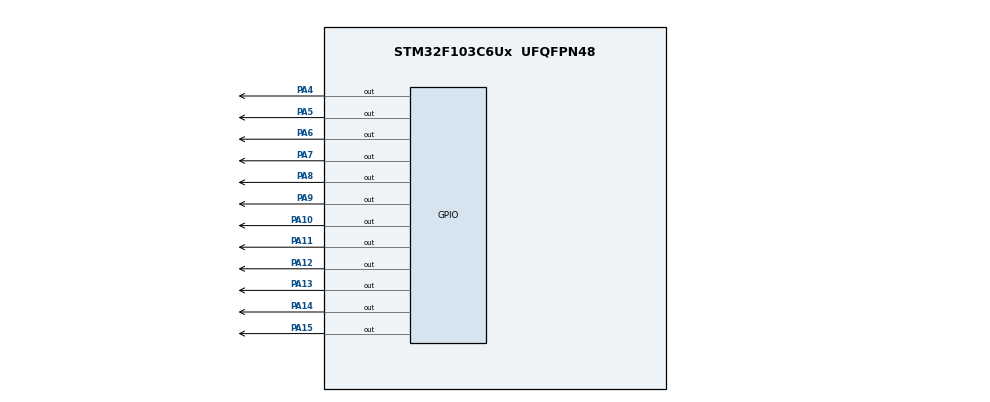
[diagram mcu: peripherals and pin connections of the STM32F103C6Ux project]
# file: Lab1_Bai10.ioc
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Mcu.Family=STM32F1
Mcu.Name=STM32F103C6Ux
Mcu.Package=UFQFPN48
NVIC.PriorityGroup=NVIC_PRIORITYGROUP_4
PA10.Signal=GPIO_Output
PA11.Signal=GPIO_Output
PA12.Signal=GPIO_Output
PA13.Signal=GPIO_Output
PA14.Signal=GPIO_Output
PA15.Signal=GPIO_Output
PA4.Signal=GPIO_Output
PA5.Signal=GPIO_Output
PA6.Signal=GPIO_Output
PA7.Signal=GPIO_Output
PA8.Signal=GPIO_Output
PA9.Signal=GPIO_Output
ProjectManager.HeapSize=0x200
ProjectManager.StackSize=0x400
ProjectManager.TargetToolchain=STM32CubeIDE
RCC.APB1Freq_Value=8000000
RCC.APB2Freq_Value=8000000
VP_SYS_VS_ND.Mode=No_Debug
board=custom

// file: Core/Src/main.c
/* USER CODE BEGIN Header */
/**
  ******************************************************************************
  * @file           : main.c
  * @brief          : Main program body
  ******************************************************************************
  * @attention
  *
  * <h2><center>&copy; Copyright (c) 2023 STMicroelectronics.
  * All rights reserved.</center></h2>
  *
  * This software component is licensed by ST under BSD 3-Clause license,
  * the "License"; You may not use this file except in compliance with the
  * License. You may obtain a copy of the License at:
  *                        opensource.org/licenses/BSD-3-Clause
  *
  ******************************************************************************
  */
/* USER CODE END Header */
#include "main.h"

void SystemClock_Config(void);
static void MX_GPIO_Init(void);

void clearAllClock(){
	HAL_GPIO_WritePin (GPIOA, GPIO_PIN_4, SET);
	HAL_GPIO_WritePin (GPIOA, GPIO_PIN_5, SET);
	HAL_GPIO_WritePin (GPIOA, GPIO_PIN_6, SET);
	HAL_GPIO_WritePin (GPIOA, GPIO_PIN_7, SET);
	HAL_GPIO_WritePin (GPIOA, GPIO_PIN_8, SET);
	HAL_GPIO_WritePin (GPIOA, GPIO_PIN_9, SET);
	HAL_GPIO_WritePin (GPIOA, GPIO_PIN_10, SET);
	HAL_GPIO_WritePin (GPIOA, GPIO_PIN_11, SET);
	HAL_GPIO_WritePin (GPIOA, GPIO_PIN_12, SET);
	HAL_GPIO_WritePin (GPIOA, GPIO_PIN_13, SET);
	HAL_GPIO_WritePin (GPIOA, GPIO_PIN_14, SET);
	HAL_GPIO_WritePin (GPIOA, GPIO_PIN_15, SET);
}
void clockDisplay(int hour, int minute, int second){
	if (minute < 5) minute = 0;
	else if (minute < 10) minute = 1;
	else if (minute < 15) minute = 2;
	else if (minute < 20) minute = 3;
	else if (minute < 25) minute = 4;
	else if (minute < 30) minute = 5;
	else if (minute < 35) minute = 6;
	else if (minute < 40) minute = 7;
	else if (minute < 45) minute = 8;
	else if (minute < 50) minute = 9;
	else if (minute < 55) minute = 10;
	else if (minute < 60) minute = 11;

	if (second < 5) second = 0;
	else if (second < 10) second = 1;
	else if (second < 15) second = 2;
	else if (second < 20) second = 3;
	else if (second < 25) second = 4;
	else if (second < 30) second = 5;
	else if (second < 35) second = 6;
	else if (second < 40) second = 7;
	else if (second < 45) second = 8;
	else if (second < 50) second = 9;
	else if (second < 55) second = 10;
	else if (second < 60) second = 11;
	switch(hour){
	case 0:
		HAL_GPIO_WritePin (GPIOA, GPIO_PIN_4, RESET);
		break;
	case 1:
		HAL_GPIO_WritePin (GPIOA, GPIO_PIN_5, RESET);
		break;
	case 2:
		HAL_GPIO_WritePin (GPIOA, GPIO_PIN_6, RESET);
		break;
	case 3:
		HAL_GPIO_WritePin (GPIOA, GPIO_PIN_7, RESET);
		break;
	case 4:
		HAL_GPIO_WritePin (GPIOA, GPIO_PIN_8, RESET);
		break;
	case 5:
		HAL_GPIO_WritePin (GPIOA, GPIO_PIN_9, RESET);
		break;
	case 6:
		HAL_GPIO_WritePin (GPIOA, GPIO_PIN_10, RESET);
		break;
	case 7:
		HAL_GPIO_WritePin (GPIOA, GPIO_PIN_11, RESET);
		break;
	case 8:
		HAL_GPIO_WritePin (GPIOA, GPIO_PIN_12, RESET);
		break;
	case 9:
		HAL_GPIO_WritePin (GPIOA, GPIO_PIN_13, RESET);
		break;
	case 10:
		HAL_GPIO_WritePin (GPIOA, GPIO_PIN_14, RESET);
		break;
	case 11:
		HAL_GPIO_WritePin (GPIOA, GPIO_PIN_15, RESET);
		break;
	}
	switch(minute){
	case 0:
		HAL_GPIO_WritePin (GPIOA, GPIO_PIN_4, RESET);
		break;
	case 1:
		HAL_GPIO_WritePin (GPIOA, GPIO_PIN_5, RESET);
		break;
	case 2:
		HAL_GPIO_WritePin (GPIOA, GPIO_PIN_6, RESET);
		break;
	case 3:
		HAL_GPIO_WritePin (GPIOA, GPIO_PIN_7, RESET);
		break;
	case 4:
		HAL_GPIO_WritePin (GPIOA, GPIO_PIN_8, RESET);
		break;
	case 5:
		HAL_GPIO_WritePin (GPIOA, GPIO_PIN_9, RESET);
		break;
	case 6:
		HAL_GPIO_WritePin (GPIOA, GPIO_PIN_10, RESET);
		break;
	case 7:
		HAL_GPIO_WritePin (GPIOA, GPIO_PIN_11, RESET);
		break;
	case 8:
		HAL_GPIO_WritePin (GPIOA, GPIO_PIN_12, RESET);
		break;
	case 9:
		HAL_GPIO_WritePin (GPIOA, GPIO_PIN_13, RESET);
		break;
	case 10:
		HAL_GPIO_WritePin (GPIOA, GPIO_PIN_14, RESET);
		break;
	case 11:
		HAL_GPIO_WritePin (GPIOA, GPIO_PIN_15, RESET);
		break;
	}
	switch(second){
	case 0:
		HAL_GPIO_WritePin (GPIOA, GPIO_PIN_4, RESET);
		break;
	case 1:
		HAL_GPIO_WritePin (GPIOA, GPIO_PIN_5, RESET);
		break;
	case 2:
		HAL_GPIO_WritePin (GPIOA, GPIO_PIN_6, RESET);
		break;
	case 3:
		HAL_GPIO_WritePin (GPIOA, GPIO_PIN_7, RESET);
		break;
	case 4:
		HAL_GPIO_WritePin (GPIOA, GPIO_PIN_8, RESET);
		break;
	case 5:
		HAL_GPIO_WritePin (GPIOA, GPIO_PIN_9, RESET);
		break;
	case 6:
		HAL_GPIO_WritePin (GPIOA, GPIO_PIN_10, RESET);
		break;
	case 7:
		HAL_GPIO_WritePin (GPIOA, GPIO_PIN_11, RESET);
		break;
	case 8:
		HAL_GPIO_WritePin (GPIOA, GPIO_PIN_12, RESET);
		break;
	case 9:
		HAL_GPIO_WritePin (GPIOA, GPIO_PIN_13, RESET);
		break;
	case 10:
		HAL_GPIO_WritePin (GPIOA, GPIO_PIN_14, RESET);
		break;
	case 11:
		HAL_GPIO_WritePin (GPIOA, GPIO_PIN_15, RESET);
		break;
	}
}
int main(void)
{

  /* MCU Configuration--------------------------------------------------------*/

  /* Reset of all peripherals, Initializes the Flash interface and the Systick. */
  HAL_Init();

  /* Configure the system clock */
  SystemClock_Config();

  /* Initialize all configured peripherals */
  MX_GPIO_Init();

  /* Infinite loop */
  /* USER CODE BEGIN WHILE */
  clearAllClock();
  int hour = 3;
  int minute = 10;
  int second = 0;
  while (1)
  {
	  clearAllClock();
	  clockDisplay(hour, minute, second);
	  second++;
	  if (second >= 60){
		  second = 0;
		  minute++;
	  }
	  if (minute >= 60){
		  minute = 0;
		  hour++;
	  }
	  if (hour >= 12){
		  hour = 0;
	  }
    /* USER CODE END WHILE */
	  HAL_Delay(1000);
  }
}

void SystemClock_Config(void)
{
  RCC_OscInitTypeDef RCC_OscInitStruct = {0};
  RCC_ClkInitTypeDef RCC_ClkInitStruct = {0};

  /** Initializes the RCC Oscillators according to the specified parameters
  * in the RCC_OscInitTypeDef structure.
  */
  RCC_OscInitStruct.OscillatorType = RCC_OSCILLATORTYPE_HSI;
  RCC_OscInitStruct.HSIState = RCC_HSI_ON;
  RCC_OscInitStruct.HSICalibrationValue = RCC_HSICALIBRATION_DEFAULT;
  RCC_OscInitStruct.PLL.PLLState = RCC_PLL_NONE;
  if (HAL_RCC_OscConfig(&RCC_OscInitStruct) != HAL_OK)
  {
    Error_Handler();
  }
  /** Initializes the CPU, AHB and APB buses clocks
  */
  RCC_ClkInitStruct.ClockType = RCC_CLOCKTYPE_HCLK|RCC_CLOCKTYPE_SYSCLK
                              |RCC_CLOCKTYPE_PCLK1|RCC_CLOCKTYPE_PCLK2;
  RCC_ClkInitStruct.SYSCLKSource = RCC_SYSCLKSOURCE_HSI;
  RCC_ClkInitStruct.AHBCLKDivider = RCC_SYSCLK_DIV1;
  RCC_ClkInitStruct.APB1CLKDivider = RCC_HCLK_DIV1;
  RCC_ClkInitStruct.APB2CLKDivider = RCC_HCLK_DIV1;

  if (HAL_RCC_ClockConfig(&RCC_ClkInitStruct, FLASH_LATENCY_0) != HAL_OK)
  {
    Error_Handler();
  }
}

static void MX_GPIO_Init(void)
{
  GPIO_InitTypeDef GPIO_InitStruct = {0};

  /* GPIO Ports Clock Enable */
  __HAL_RCC_GPIOA_CLK_ENABLE();

  /*Configure GPIO pin Output Level */
  HAL_GPIO_WritePin(GPIOA, GPIO_PIN_4|GPIO_PIN_5|GPIO_PIN_6|GPIO_PIN_7
                          |GPIO_PIN_8|GPIO_PIN_9|GPIO_PIN_10|GPIO_PIN_11
                          |GPIO_PIN_12|GPIO_PIN_13|GPIO_PIN_14|GPIO_PIN_15, GPIO_PIN_RESET);

  /*Configure GPIO pins : PA4 PA5 PA6 PA7
                           PA8 PA9 PA10 PA11
                           PA12 PA13 PA14 PA15 */
  GPIO_InitStruct.Pin = GPIO_PIN_4|GPIO_PIN_5|GPIO_PIN_6|GPIO_PIN_7
                          |GPIO_PIN_8|GPIO_PIN_9|GPIO_PIN_10|GPIO_PIN_11
                          |GPIO_PIN_12|GPIO_PIN_13|GPIO_PIN_14|GPIO_PIN_15;
  GPIO_InitStruct.Mode = GPIO_MODE_OUTPUT_PP;
  GPIO_InitStruct.Pull = GPIO_NOPULL;
  GPIO_InitStruct.Speed = GPIO_SPEED_FREQ_LOW;
  HAL_GPIO_Init(GPIOA, &GPIO_InitStruct);

}

void Error_Handler(void)
{
  __disable_irq();
  while (1)
  {
  }
}

/************************ (C) COPYRIGHT STMicroelectronics *****END OF FILE****/
